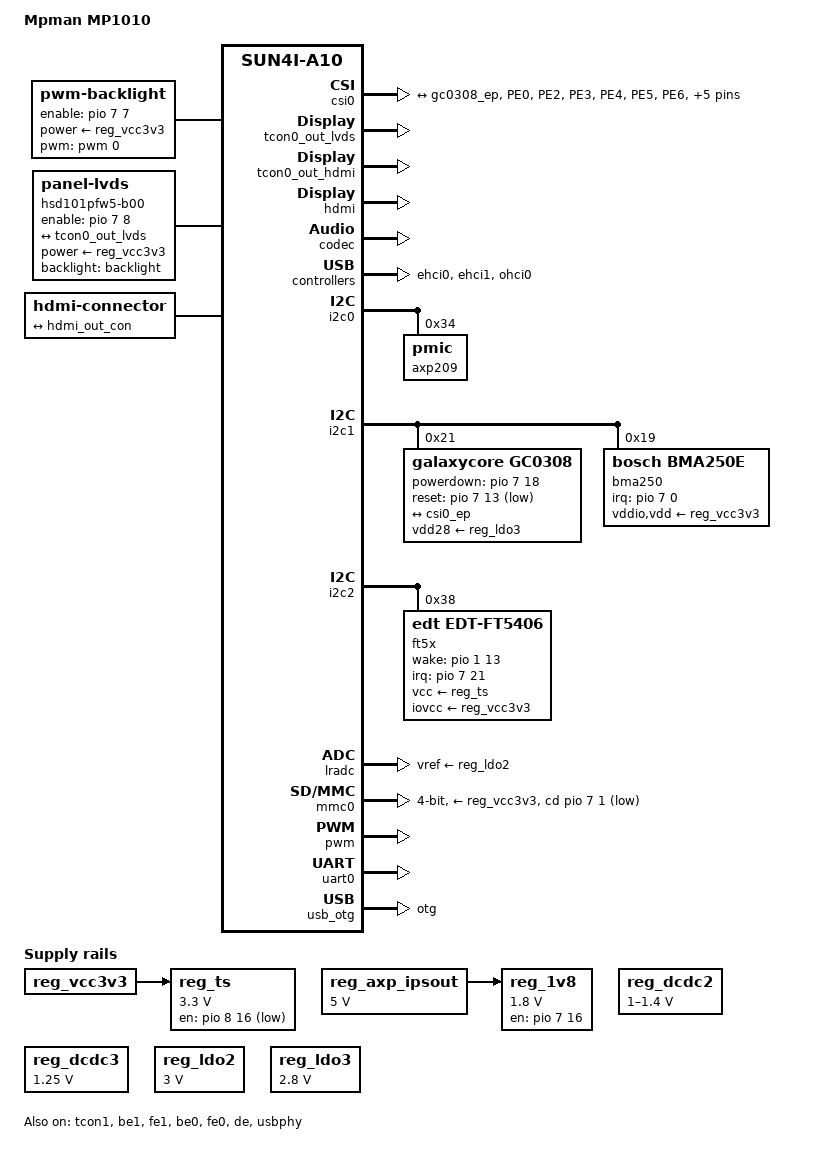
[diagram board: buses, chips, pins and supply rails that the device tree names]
/*
 * Copyright 2015 Hans de Goede <hdegoede@redhat.com>
 *
 * This file is dual-licensed: you can use it either under the terms
 * of the GPL or the X11 license, at your option. Note that this dual
 * licensing only applies to this file, and not this project as a
 * whole.
 *
 *  a) This file is free software; you can redistribute it and/or
 *     modify it under the terms of the GNU General Public License as
 *     published by the Free Software Foundation; either version 2 of the
 *     License, or (at your option) any later version.
 *
 *     This file is distributed in the hope that it will be useful,
 *     but WITHOUT ANY WARRANTY; without even the implied warranty of
 *     MERCHANTABILITY or FITNESS FOR A PARTICULAR PURPOSE.  See the
 *     GNU General Public License for more details.
 *
 * Or, alternatively,
 *
 *  b) Permission is hereby granted, free of charge, to any person
 *     obtaining a copy of this software and associated documentation
 *     files (the "Software"), to deal in the Software without
 *     restriction, including without limitation the rights to use,
 *     copy, modify, merge, publish, distribute, sublicense, and/or
 *     sell copies of the Software, and to permit persons to whom the
 *     Software is furnished to do so, subject to the following
 *     conditions:
 *
 *     The above copyright notice and this permission notice shall be
 *     included in all copies or substantial portions of the Software.
 *
 *     THE SOFTWARE IS PROVIDED "AS IS", WITHOUT WARRANTY OF ANY KIND,
 *     EXPRESS OR IMPLIED, INCLUDING BUT NOT LIMITED TO THE WARRANTIES
 *     OF MERCHANTABILITY, FITNESS FOR A PARTICULAR PURPOSE AND
 *     NONINFRINGEMENT. IN NO EVENT SHALL THE AUTHORS OR COPYRIGHT
 *     HOLDERS BE LIABLE FOR ANY CLAIM, DAMAGES OR OTHER LIABILITY,
 *     WHETHER IN AN ACTION OF CONTRACT, TORT OR OTHERWISE, ARISING
 *     FROM, OUT OF OR IN CONNECTION WITH THE SOFTWARE OR THE USE OR
 *     OTHER DEALINGS IN THE SOFTWARE.
 */

/dts-v1/;
#include "sun4i-a10.dtsi"
#include "sunxi-common-regulators.dtsi"
#include <dt-bindings/gpio/gpio.h>
#include <dt-bindings/input/input.h>
#include <dt-bindings/interrupt-controller/irq.h>
#include <dt-bindings/pwm/pwm.h>

/* PA=0, PB=1, PC=2, PD=3, PE=4, PF=5, PG=6, PH=7, PI=8 */
/ {
	model = "Mpman MP1010";
	compatible = "mpman,mp1010", "allwinner,sun4i-a10";

	reg_axp_ipsout: regulator-axp-ipsout {
        compatible = "regulator-fixed";
        regulator-name = "axp-ipsout";
        regulator-min-microvolt = <5000000>;
        regulator-max-microvolt = <5000000>;
        regulator-always-on;
    };

	reg_1v8: reg-1v8-supply {
        compatible = "regulator-fixed";
        regulator-name = "reg-1v8-supply";
        regulator-min-microvolt = <1800000>;
        regulator-max-microvolt = <1800000>;
        gpio = <&pio 7 16 GPIO_ACTIVE_HIGH>; /* PH16 */
        enable-active-high;
		vin-supply = <&reg_axp_ipsout>;
		regulator-boot-on;
		regulator-always-on;
        status = "okay";
    };

	reg_ts: reg-ts-supply {
		compatible = "regulator-fixed";
		regulator-name = "reg-ts-supply";
        regulator-min-microvolt = <3300000>;
        regulator-max-microvolt = <3300000>;
        gpio = <&pio 8 16 GPIO_ACTIVE_LOW>; /* PI16 */
        enable-active-low;
		vin-supply = <&reg_vcc3v3>;
		regulator-boot-on;
		regulator-always-on;
		status = "okay";
	};

	csi0: csi@1c09000 {
		/*compatible = "allwinner,sun4i-a10-csi0";*/
		compatible = "allwinner,sun7i-a20-csi0";
		reg = <0x01c09000 0x1000>;
		interrupts = <42>;
		clocks = <&ccu CLK_AHB_CSI0>,
		         <&ccu CLK_CSI_SCLK>,
				 <&ccu CLK_DRAM_CSI0>;
		clock-names = "bus", "isp", "ram";
		resets = <&ccu RST_CSI0>;
		power-supply = <&reg_1v8>;
	};

	backlight: backlight {
		compatible = "pwm-backlight";
		pwms = <&pwm 0 10000 PWM_POLARITY_INVERTED>;  /* pwm_ch=0, freq=10000 Hz */
		brightness-levels = <0 10 20 30 40 50 60 70 80 90 100>;
		default-brightness-level = <8>;
		enable-gpios = <&pio 7 7 GPIO_ACTIVE_HIGH>;  /* PH07 from lcd_bl_en */
		power-supply = <&reg_vcc3v3>;
		status = "okay";
	};

   panel_lvds: panel-lvds {
        compatible = "panel-lvds";
        power-supply = <&reg_vcc3v3>;
		backlight = <&backlight>;
		enable-gpios = <&pio 7 8 GPIO_ACTIVE_HIGH>;  /* PH08 */

        width-mm = <223>;
        height-mm = <125>;
		label = "hsd101pfw5-b00";
        data-mapping = "vesa-24";

        panel-timing {
				/* 1024x600 @60Hz */
				clock-frequency = <52000000>;
            	hactive = <1024>;
            	vactive = <600>;
            	hsync-len = <1>;
            	hfront-porch = <287>;
            	hback-porch = <33>;
            	vfront-porch = <647>;
            	vback-porch = <23>;
            	vsync-len = <1>;
			};

		port {
			lvds_in_tcon0: endpoint {
				remote-endpoint = <&tcon0_out_lvds>;
			};
		};
   	};

	aliases {
		serial0 = &uart0;
	};

	chosen {
		stdout-path = "serial0:115200n8";
	};

	hdmi-connector {
		compatible = "hdmi-connector";
		type = "a";

		port {
			hdmi_con_in: endpoint {
				remote-endpoint = <&hdmi_out_con>;
			};
		};
	};
};

&pio {

	vcc-pc-supply = <&reg_vcc3v3>;
	vcc-pe-supply = <&reg_ldo3>;
	vcc-pf-supply = <&reg_vcc3v3>;
	vcc-pg-supply = <&reg_vcc3v3>;
	vcc-ph-supply = <&reg_vcc3v3>;
	vcc-pi-supply = <&reg_vcc3v3>;

	lcd_lvds0_pins: lcd-lvds0-pins {
		pins = 	"PD0","PD1","PD2","PD3","PD4","PD5","PD6","PD7","PD8","PD9";
		function = "lvds0";
	};

	csi0_8bits_pins: csi-8bits-pins {
		pins = "PE0","PE2","PE3","PE4","PE5","PE6","PE7","PE8","PE9","PE10","PE11";
		function = "csi0";
	};
	
	csi0_mclk_pin: csi-mclk-pin {
		pins = "PE1";
		function = "csi0";
	};

	nand_pins: nand-pins {
		pins = "PC0","PC1","PC2","PC5","PC8","PC9","PC10","PC11","PC12","PC13","PC14","PC15";
		function = "nand0";
	};

	nand_cs0_pin: nand-cs0-pin {
		pins = "PC4";
		function = "nand0";
		bias-pull-up;
	};

	nand_cs1_pin: nand-cs1-pin {
		pins = "PC3";
		function = "nand0";
		bias-pull-up;
	};

	nand_rb0_pin: nand-rb0-pin {
		pins = "PC6";
		function = "nand0";
		bias-pull-up;
	};

	nand_rb1_pin: nand-rb1-pin {
		pins = "PC7";
		function = "nand0";
		bias-pull-up;
	};
};

&tcon0 {
	compatible = "allwinner,sun4i-a10-tcon0";
	resets = <&ccu RST_TCON0>, <&ccu RST_LVDS>;
	reset-names = "lcd", "lvds";

	pinctrl-names = "default";
	pinctrl-0 = <&lcd_lvds0_pins>;
    ports {

		tcon0_out: port@1 {
            #address-cells = <1>;
            #size-cells = <0>;
			reg = <1>;

            tcon0_out_lvds: endpoint@0 {
                reg = <0>;
                remote-endpoint = <&lvds_in_tcon0>;
                allwinner,tcon-channel = <0>;
				status = "okay";
            };

            tcon0_out_hdmi: endpoint@1 {
                reg = <1>;
                remote-endpoint = <&hdmi_in_tcon0>;
                allwinner,tcon-channel = <1>;
				status = "okay";
            };
        };
    };
};


&tcon1 {
	compatible = "allwinner,sun4i-a10-tcon1";
	status = "okay";
};

&be1 {
    status = "okay";
};

&fe1 {
    status = "okay";
};

&be0 {
    status = "okay";
};

&fe0 {
    status = "okay";
};

&de {
    status = "okay";
};

&hdmi {
    status = "okay";
};

&hdmi_out {
	hdmi_out_con: endpoint {
		remote-endpoint = <&hdmi_con_in>;
	};
};

&codec {
	allwinner,pa-gpios = <&pio 7 15 GPIO_ACTIVE_HIGH>; /* PH15 */
	allwinner,audio-routing =
		"Headphone", "HP",
		"Headphone", "HPCOM",
		"Speaker", "HP",
		"MIC1", "Mic",
		"MIC2", "Headset Mic",
		"Mic",  "MBIAS",
		"Headset Mic", "HBIAS";

	status = "okay";
};

&cpu0 {
	cpu-supply = <&reg_dcdc2>;
};

&ehci0  {
	status = "okay";
};

&ehci1 {
	status = "okay";
};

&csi0 {
	pinctrl-names = "default";
	pinctrl-0 = <&csi0_8bits_pins>;
	status = "okay";

	port {
		csi0_ep: endpoint {
			remote-endpoint = <&gc0308_ep>;
		};
	};
};

&nfc {

	pinctrl-names = "default";
	pinctrl-0 = <&nand_pins &nand_cs0_pin &nand_rb0_pin>;
	status = "disabled";
    nand@0 {
        #address-cells = <1>;
        #size-cells = <1>;
        reg = <0>;
        allwinner,rb = <0>;
        
        /* Use hardware ECC engine */
        nand-ecc-mode = "hw";
        
        /* Explicitly set ECC strength and step size */
        nand-ecc-strength = <64>;
        nand-ecc-step-size = <1024>;

        /* Consider adding this for better bad block management */
        nand-on-flash-bbt;

        partition@0 {
            label = "bootloader";
            reg = <0x0000000 0x1000000>;   /* 0MB - 16MB */
        };
        
        partition@1 {
            label = "env";
            reg = <0x1000000 0x1000000>;   /* 16MB - 32MB */
        };
        
        partition@2 {
            label = "boot";
            reg = <0x2000000 0x2000000>;   /* 32MB - 64MB */
        };
        
        partition@3 {
            label = "system";
            reg = <0x4000000 0x20000000>;  /* 64MB - 576MB */
        };
        
        partition@4 {
            label = "data";
            reg = <0x24000000 0x4b000000>; /* 576MB - 1776MB */
        };
        
        partition@5 {
            label = "misc";
            reg = <0x6f000000 0x1000000>;  /* 1776MB - 1792MB */
        };
        
        partition@6 {
            label = "recovery";
            reg = <0x70000000 0x2000000>;  /* 1792MB - 1824MB */
        };
        
        partition@7 {
            label = "cache";
            reg = <0x72000000 0x14000000>; /* 1824MB - 2144MB */
        };
        
        partition@8 {
            label = "databk";
            reg = <0x86000000 0x10000000>; /* 2144MB - 2400MB */
        };
        
        partition@9 {
            label = "UDISK";
            reg = <0x96000000 0x56800000>; /* 2400MB - 3784MB */
        };
    };
};

&i2c0 {
	status = "okay";

	axp209: pmic@34 {
		reg = <0x34>;
		interrupts = <0>;

		battery_power_supply: battery-power {
			compatible = "x-powers,axp209-battery-power-supply";
		};
	};
};

#include "axp209.dtsi"

&i2c1 {
	status = "okay";

/*
	csi0-1v8-en 	- PH16
	csi0-stby-en	- PH18
	csi0-reset#		- PH13

	csi1-1v8-en 	- PH17
	csi1-stby-en	- PH19
	csi1-reset#		- PH14
*/

	/* camera */
	gc0308: camera@21 {
		compatible = "galaxycore,gc0308";
		reg = <0x21>;

		clocks = <&ccu CLK_CSI0>;
		pinctrl-names = "default";
		pinctrl-0 = <&csi0_mclk_pin>; /* PE1 CSI0-MCLK */

		powerdown-gpios = <&pio 7 18 GPIO_ACTIVE_HIGH>; /* PH18 */
		reset-gpios = <&pio 7 13 GPIO_ACTIVE_LOW>; /* PH13 */

		vdd28-supply = <&reg_ldo3>;
		status = "okay";

		port {
			gc0308_ep: endpoint {
				remote-endpoint = <&csi0_ep>;
				bus-width = <8>;
				hsync-active = <0>; /* Active low */
				vsync-active = <0>; /* Active low */
				data-active = <1>;  /* Active high */
				pclk-sample = <1>;  /* Rising */
			};
		};
	};

	/* Accelerometer */
    bma250@19 {
        compatible = "bosch,bma250e";
        reg = <0x19>;
        interrupt-parent = <&pio>;
        interrupts = <7 0 IRQ_TYPE_EDGE_FALLING>,  /* PH00 / EINT0 */
                     <8 10 IRQ_TYPE_EDGE_FALLING>; /* PI10 */
		interrupt-names = "int1", "int2";
		vddio-supply = <&reg_vcc3v3>;
		vdd-supply = <&reg_vcc3v3>;
		status = "okay";
    };
};

&i2c2 {
	status = "okay";
	ft5x: touchscreen@38 {
		compatible = "edt,edt-ft5406";
		reg = <0x38>;
		interrupt-parent = <&pio>;
		interrupts = <7 21 IRQ_TYPE_EDGE_FALLING>;
		/*reset-gpios = <&pio 8 16 GPIO_ACTIVE_HIGH>;*/ /* PI16 */
		wake-gpios = <&pio 1 13 GPIO_ACTIVE_HIGH>; /* PB13 */
		touchscreen-size-x = <600>;
		touchscreen-size-y = <1024>;
		touchscreen-swapped-x-y;

		/*vcc-supply = <&reg_vcc3v3>;*/
		vcc-supply = <&reg_ts>;
		iovcc-supply = <&reg_vcc3v3>;
		status = "okay";
 	};
};

&lradc {
	vref-supply = <&reg_ldo2>;
	status = "okay";

	button-200 {
		label = "Volume Up";
		linux,code = <KEY_VOLUMEUP>;
		channel = <0>;
		voltage = <200000>;
	};

	button-1000 {
		label = "Volume Down";
		linux,code = <KEY_VOLUMEDOWN>;
		channel = <0>;
		voltage = <1000000>;
	};

	button-1200 {
		label = "Home";
		linux,code = <KEY_HOMEPAGE>;
		channel = <0>;
		voltage = <1200000>;
	};
};

&mmc0 {
	vmmc-supply = <&reg_vcc3v3>;
	bus-width = <4>;
	cd-gpios = <&pio 7 1 GPIO_ACTIVE_LOW>; /* PH1 */
	status = "okay";
};

&ohci0  {
	status = "okay";
};

&otg_sram {
	status = "okay";
};

&pwm {
	pinctrl-names = "default";
	pinctrl-0 = <&pwm0_pin>;
	status = "okay";
};

&reg_dcdc2 {
	regulator-always-on;
	regulator-min-microvolt = <1000000>;
	regulator-max-microvolt = <1400000>;
	regulator-name = "vdd-cpu";
};

&reg_dcdc3 {
	regulator-always-on;
	regulator-min-microvolt = <1250000>;
	regulator-max-microvolt = <1250000>;
	regulator-name = "vdd-int-dll";
};

&reg_ldo1 {
	regulator-name = "vdd-rtc";
};

&reg_ldo2 {
	regulator-always-on;
	regulator-min-microvolt = <3000000>;
	regulator-max-microvolt = <3000000>;
	regulator-name = "avcc";
};

&reg_ldo3 {
	regulator-min-microvolt = <2800000>;
	regulator-max-microvolt = <2800000>;
	regulator-name = "ldo3";
	regulator-soft-start;
	regulator-ramp-delay = <1600>;

	regulator-boot-on;
	regulator-always-on;

};

&reg_1v8 {
	status = "okay";
};

&reg_usb0_vbus {
	status = "okay";
};

&reg_usb1_vbus {
	status = "okay";
};

&reg_usb2_vbus {
	status = "okay";
};

&uart0 {
	pinctrl-names = "default";
	pinctrl-0 = <&uart0_pb_pins>;
	status = "okay";
};

&usb_otg {
	dr_mode = "otg";
	status = "okay";
};

&usbphy {
	usb0_id_det-gpios = <&pio 7 4 (GPIO_ACTIVE_HIGH | GPIO_PULL_UP)>; /* PH4 */
	usb0_vbus_det-gpios = <&pio 7 5 (GPIO_ACTIVE_HIGH | GPIO_PULL_DOWN)>; /* PH5 */
	usb0_vbus-supply = <&reg_usb0_vbus>;
	usb1_vbus-supply = <&reg_usb1_vbus>;
	usb2_vbus-supply = <&reg_usb2_vbus>;
	status = "okay";
};
